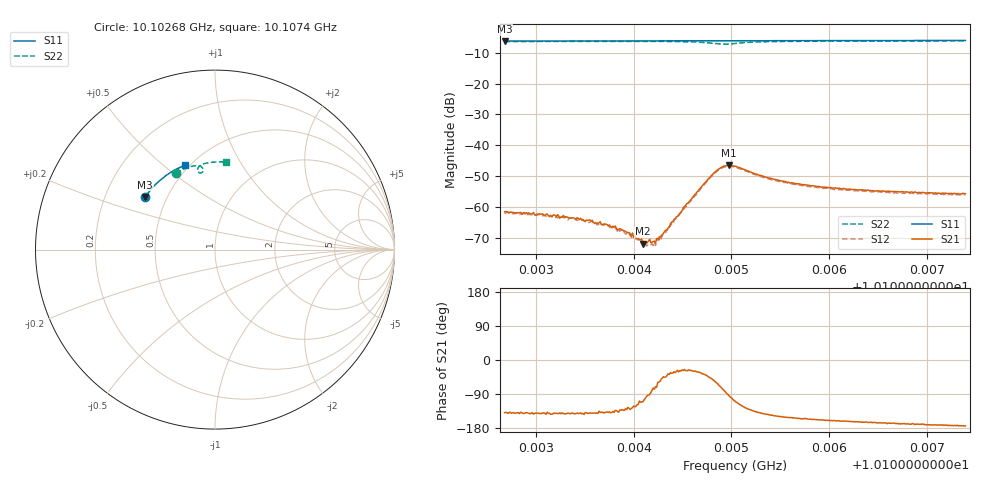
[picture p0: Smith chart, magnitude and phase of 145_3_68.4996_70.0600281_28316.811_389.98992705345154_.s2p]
#  HZ  S  RI  R  50.00
! Rohde & Schwarz Vector Network Analyzer
! Rohde-Schwarz,ZNB20-2Port,1311601062101988,3.16
! Created: UTC 3/20/2024, 5:10:12 PM
! freq[Hz]  re:S11  im:S11  re:S21  im:S21  re:S12  im:S12  re:S22  im:S22
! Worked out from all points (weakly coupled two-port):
!   401 points, 10.10268 GHz to 10.1074 GHz, reference 50 ohm
!   highest |S21| = -46.51 dB at 10.10498 GHz (marker M1); lowest = -71.9 dB at 10.10409 GHz (marker M2)
!   lowest |S11| = -6.3 dB at 10.10268 GHz (marker M3), VSWR 2.90, Z = 18.9 + j14.5 ohm
!   |S11| at or under -10 dB: nowhere
!   |S22| runs from -7.2 to -6.2 dB; largest |S21 - S12| = 0.00048
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1.0102677e10  -0.3891 0.2926  -0.000631 -0.000551  -0.000553 -0.000543  -0.2186 0.4267
1.0103043e10  -0.3763 0.3109  -0.000595 -0.000479  -0.000526 -0.000506  -0.1972 0.4378
1.0103149e10  -0.3723 0.316  -0.000575 -0.000433  -0.000548 -0.000495  -0.1908 0.4408
1.0103196e10  -0.3706 0.3182  -0.000566 -0.000459  -0.000496 -0.000466  -0.1881 0.4424
1.0103467e10  -0.3602 0.3312  -0.000482 -0.000378  -0.000415 -0.000426  -0.1711 0.4497
1.010368e10  -0.3518 0.341  -0.000384 -0.00035  -0.000365 -0.000366  -0.1577 0.4549
1.010388e10  -0.3437 0.35  -0.00028 -0.000321  -0.000255 -0.000295  -0.1442 0.4597
1.0104092e10  -0.3349 0.3593  -8.79e-05 -0.000238  -3.51e-05 -0.000279  -0.1291 0.4638
1.0104116e10  -0.3338 0.3603  -5.51e-05 -0.00027  -4.66e-05 -0.000276  -0.1273 0.4644
1.0104151e10  -0.3322 0.3617  -1.36e-05 -0.000282  -1.09e-05 -0.000251  -0.1247 0.4649
1.0104199e10  -0.3303 0.3638  7.67e-05 -0.000264  7.6e-05 -0.000224  -0.121 0.4657
1.0104258e10  -0.3277 0.3664  0.000153 -0.00025  0.000204 -0.000259  -0.1162 0.4666
1.010434e10  -0.3239 0.3697  0.000323 -0.000278  0.000344 -0.000263  -0.1094 0.4675
1.0104529e10  -0.3156 0.3777  0.000926 -0.000493  0.000914 -0.00036  -0.0917 0.4672
1.01048e10  -0.3032 0.3884  0.00211 -0.00252  0.00223 -0.00224  -0.0656 0.4456
1.0104895e10  -0.2989 0.3918  0.0013 -0.00415  0.00163 -0.00386  -0.0721 0.4302
1.0104977e10  -0.2952 0.3949  -0.000388 -0.00471  2.83e-05 -0.00455  -0.0874 0.4285
1.0105036e10  -0.2924 0.3972  -0.00146 -0.00434  -0.00102 -0.0043  -0.0949 0.4358
1.0105402e10  -0.275 0.4109  -0.00242 -0.00164  -0.00216 -0.00177  -0.0768 0.4718
1.0105826e10  -0.2537 0.4255  -0.00203 -0.000861  -0.00186 -0.00103  -0.0443 0.4825
1.0106617e10  -0.2126 0.4496  -0.00174 -0.000411  -0.00162 -0.000539  0.0102 0.4883
1.0107395e10  -0.1696 0.4692  -0.00164 -0.000163  -0.00152 -0.000307  0.0612 0.4869
